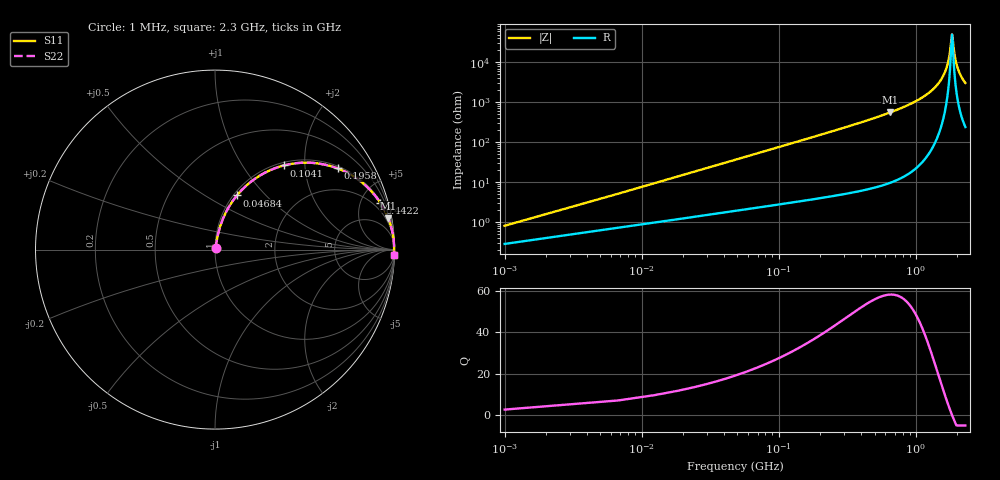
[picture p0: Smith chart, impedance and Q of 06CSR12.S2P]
! Coilcraft 0603CS-R12 Chip Inductor
! 21 May 2002
# MHZ S MA R 50
!Freq  MagS11  AngS11  MagS21  AngS21  MagS12  AngS12  MagS22  AngS22
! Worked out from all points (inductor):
!   403 points, 1 MHz to 2.3 GHz, reference 50 ohm
!   read as one part in series: L = 119 nH near 12.46 MHz
!   highest Q = 58.3 at 648.5 MHz (marker M1), where L = 136 nH
!   self-resonance near 1.835 GHz
!   S11 on the Smith chart (normalised r, x): 1 MHz: 1.01, +0.01; 46.84 MHz: 1.04, +0.70; 104.1 MHz: 1.06, +1.56; 195.8 MHz: 1.08, +2.96; 442.2 MHz: 1.13, +7.02; 2.3 GHz: 6, -61
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1  0.007962 69.0  0.9972 -0.4  0.9972 -0.4  0.007962 69.0
18.19  0.1337 77.5  0.9797 -7.7  0.9797 -7.7  0.1337 77.5
29.65  0.214 73.9  0.9627 -12.3  0.9627 -12.3  0.214 73.9
46.84  0.3258 68.0  0.9283 -19.0  0.9283 -19.0  0.3258 68.0
69.76  0.4553 60.5  0.8708 -27.1  0.8708 -27.1  0.4553 60.5
104.14  0.6055 50.7  0.7746 -37.2  0.7746 -37.2  0.6055 50.7
195.82  0.819 33.5  0.5528 -55.0  0.5528 -55.0  0.819 33.5
384.91  0.9435 18.3  0.3134 -70.6  0.3134 -70.6  0.9435 18.3
442.21  0.9571 15.8  0.2727 -73.1  0.2727 -73.1  0.9571 15.8
648.49  0.9811 10.2  0.1772 -78.8  0.1772 -78.8  0.9811 10.2
768.82  0.9874 8.1  0.1417 -80.9  0.1417 -80.9  0.9874 8.1
1152.73  0.9958 4.0  0.07011 -84.5  0.07011 -84.5  0.9958 4.0
1536.64  0.9979 1.5  0.02622 -84.7  0.02622 -84.7  0.9979 1.5
1639.78  0.998 1.0  0.01673 -82.8  0.01673 -82.8  0.998 1.0
1720  0.9981 0.6  0.009851 -78.5  0.009851 -78.5  0.9981 0.6
1771.57  0.9981 0.3  0.005709 -70.0  0.005709 -70.0  0.9981 0.3
1834.6  0.998 0.0  0.002004 -8.6  0.002004 -8.6  0.998 0.0
1851.79  0.998 -0.1  0.002259 27.7  0.002259 27.7  0.998 -0.1
1920.55  0.9979 -0.4  0.006676 71.6  0.006676 71.6  0.9979 -0.4
1983.58  0.9978 -0.6  0.01125 78.4  0.01125 78.4  0.9978 -0.6
2063.8  0.9976 -1.0  0.01697 81.4  0.01697 81.4  0.9976 -1.0
2300  0.9969 -1.9  0.03285 83.6  0.03285 83.6  0.9969 -1.9
